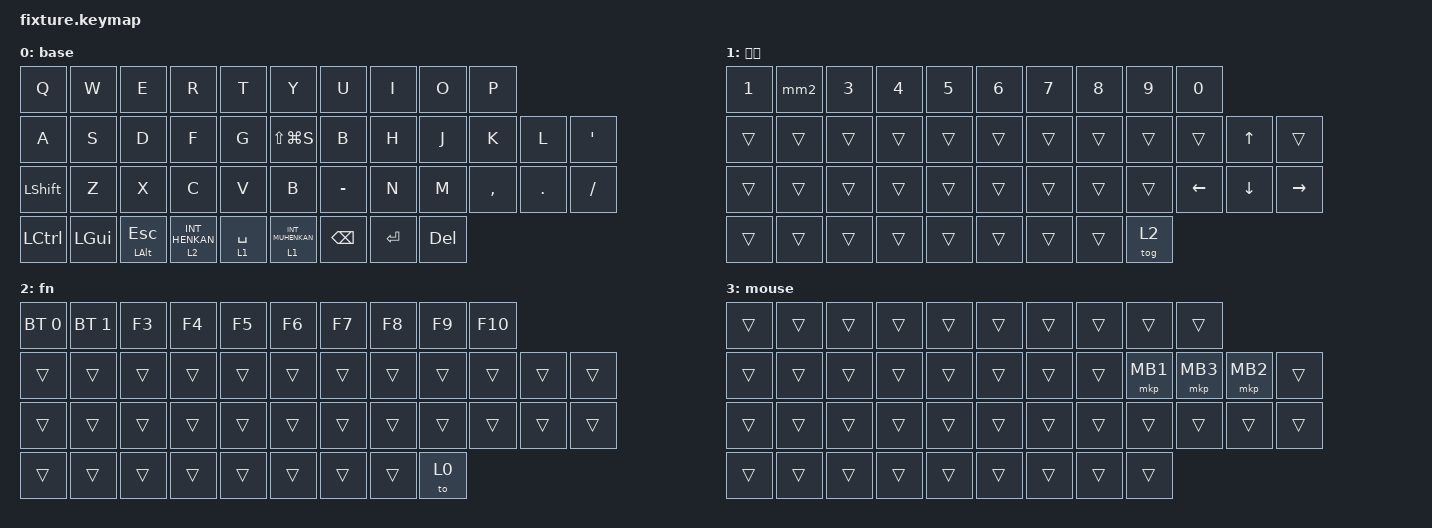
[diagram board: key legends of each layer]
#include <behaviors.dtsi>
#include <dt-bindings/zmk/keys.h>
#include <dt-bindings/zmk/bt.h>

#define MOUSE 3
#define JP_AT LEFT_BRACKET // @

&mt {
    flavor = "balanced";
    quick-tap-ms = <0>;
};

/ {
    behaviors {
        mm2: mm2 {
            compatible = "zmk,behavior-mod-morph";
            #binding-cells = <0>;
            bindings = <&kp N2>, <&kp JP_AT>;
            mods = <(MOD_LSFT|MOD_RSFT)>;
        };
        hl: hold_layer {
            compatible = "zmk,behavior-hold-tap";
            #binding-cells = <2>;
            flavor = "hold-preferred";
            tapping-term-ms = <300>;
            bindings = <&mo>, <&kp>;
        };
    };

    /* コメント { } も無視されること */
    keymap {
        compatible = "zmk,keymap";

        base {
            // Q W ...
            bindings = <
&kp Q  &kp W  &kp E  &kp R  &kp T     &kp Y  &kp U  &kp I  &kp O  &kp P
&kp A  &kp S  &kp D  &kp F  &kp G  &kp LS(LG(S))     &kp B  &kp H  &kp J  &kp K  &kp L  &kp SQT
&kp LSHFT  &kp Z  &kp X  &kp C  &kp V  &kp B     &kp MINUS  &kp N  &kp M  &kp COMMA  &kp DOT  &kp SLASH
&kp LCTRL  &kp LGUI  &mt LALT ESC  &lt 2 INT_HENKAN  &lt 1 SPACE  &hl 1 INT_MUHENKAN     &kp BSPC  &kp ENTER  &kp DEL
            >;
        };

        num {
            display-name = "数字";
            bindings = <
&kp N1  &mm2  &kp N3  &kp N4  &kp N5     &kp N6  &kp N7  &kp N8  &kp N9  &kp N0
&trans  &trans  &trans  &trans  &trans  &trans     &trans  &trans  &trans  &trans  &kp UP  &trans
&trans  &trans  &trans  &trans  &trans  &trans     &trans  &trans  &trans  &kp LEFT  &kp DOWN  &kp RIGHT
&trans  &trans  &trans  &trans  &trans  &trans     &trans  &trans  &tog 2
            >;
        };

        fn {
            bindings = <
&bt BT_SEL 0  &bt BT_SEL 1  &kp F3  &kp F4  &kp F5     &kp F6  &kp F7  &kp F8  &kp F9  &kp F10
&trans  &trans  &trans  &trans  &trans  &trans     &trans  &trans  &trans  &trans  &trans  &trans
&trans  &trans  &trans  &trans  &trans  &trans     &trans  &trans  &trans  &trans  &trans  &trans
&trans  &trans  &trans  &trans  &trans  &trans     &trans  &trans  &to 0
            >;
        };

        mouse {
            bindings = <
&trans  &trans  &trans  &trans  &trans     &trans  &trans  &trans  &trans  &trans
&trans  &trans  &trans  &trans  &trans  &trans     &trans  &trans  &mkp MB1  &mkp MB3  &mkp MB2  &trans
&trans  &trans  &trans  &trans  &trans  &trans     &trans  &trans  &trans  &trans  &trans  &trans
&trans  &trans  &trans  &trans  &trans  &trans     &trans  &trans  &trans
            >;
        };
    };
};
